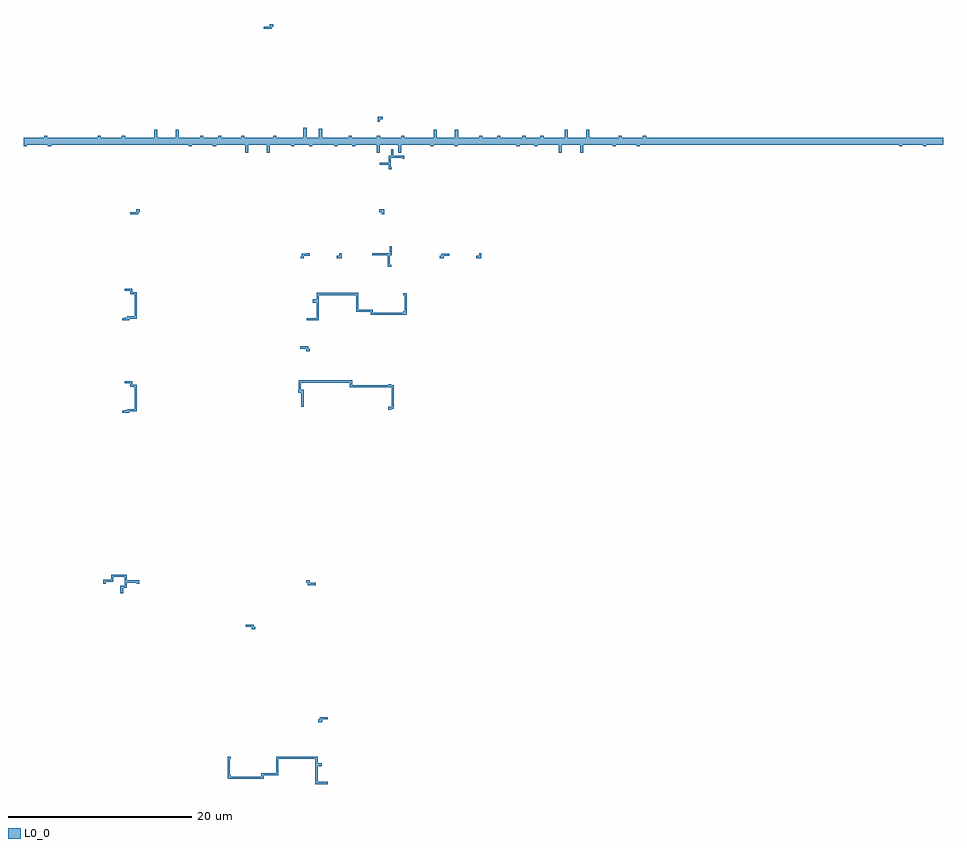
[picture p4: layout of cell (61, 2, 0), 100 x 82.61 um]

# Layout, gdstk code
import gdstk
lib = gdstk.Library(unit=1e-6, precision=1e-09)
def P(c, l, *ps):  # polygons
    for p in ps: c.add(gdstk.Polygon(p, *l))
L0_0 = (0, 0)

c__61__2__0_ = lib.new_cell('(61, 2, 0)')
P(c__61__2__0_, L0_0, [(900,971.44),(902.26,971.44),(902.26,971.615),(902.6,971.615),(902.6,971.44),(903.54,971.44),(903.54,970.64),(900,970.64),(900,971.44)],
  [(900,971.44),(1000,971.44),(1000,970.64),(900,970.64),(900,971.44)],
  [(940.71,969.8),(940.71,970.64),(938.725,970.64),(938.725,969.805),(938.385,969.805),(938.385,970.64),(936.07,970.64),(936.07,970.465),(935.73,970.465),(935.73,970.64),(934.115,970.64),(934.115,970.465),(933.775,970.465),(933.775,970.64),(932.58,970.64),(932.58,971.44),(947.76,971.44),(947.76,970.64),(947.21,970.64),(947.21,970.465),(946.87,970.465),(946.87,970.64),(944.57,970.64),(944.57,970.465),(944.23,970.465),(944.23,970.64),(941.05,970.64),(941.05,969.8),(940.71,969.8)],
  [(924.11,970.64),(920.93,970.64),(920.93,970.465),(920.59,970.465),(920.59,970.64),(918.29,970.64),(918.29,970.465),(917.95,970.465),(917.95,970.64),(917.4,970.64),(917.4,971.44),(932.58,971.44),(932.58,970.64),(931.385,970.64),(931.385,970.465),(931.045,970.465),(931.045,970.64),(929.43,970.64),(929.43,970.465),(929.09,970.465),(929.09,970.64),(926.775,970.64),(926.775,969.805),(926.435,969.805),(926.435,970.64),(924.45,970.64),(924.45,969.8),(924.11,969.8),(924.11,970.64)],
  [(951.72,971.44),(951.72,970.64),(950.4,970.64),(950.4,971.44),(951.72,971.44)],
  [(937.2,971.44),(937.86,971.44),(937.86,970.64),(937.2,970.64),(937.2,971.44)],
  [(993.96,971.44),(993.96,970.64),(988.68,970.64),(988.68,971.44),(993.96,971.44)],
  [(1000,970.64),(998.15,970.64),(998.15,970.465),(997.81,970.465),(997.81,970.64),(995.51,970.64),(995.51,970.465),(995.17,970.465),(995.17,970.64),(994.62,970.64),(994.62,971.44),(1000,971.44),(1000,970.64)],
  [(935.88,971.44),(937.2,971.44),(937.2,970.64),(935.88,970.64),(935.88,971.44)],
  [(906.18,971.44),(907.5,971.44),(907.5,970.64),(906.18,970.64),(906.18,971.44)],
  [(1000,970.64),(999.9,970.64),(999.9,971.44),(1000,971.44),(1000,970.64)],
  [(930.76,971.44),(932.11,971.44),(932.11,972.42),(932.45,972.42),(932.45,971.44),(935.34,971.44),(935.34,971.615),(935.68,971.615),(935.68,971.44),(935.88,971.44),(935.88,970.64),(922.68,970.64),(922.68,971.44),(923.65,971.44),(923.65,971.615),(923.99,971.615),(923.99,971.44),(927.15,971.44),(927.15,971.615),(927.49,971.615),(927.49,971.44),(930.42,971.44),(930.42,972.51),(930.76,972.51),(930.76,971.44)],
  [(960.51,969.8),(960.51,970.64),(958.525,970.64),(958.525,969.805),(958.185,969.805),(958.185,970.64),(955.87,970.64),(955.87,970.465),(955.53,970.465),(955.53,970.64),(953.915,970.64),(953.915,970.465),(953.575,970.465),(953.575,970.64),(952.38,970.64),(952.38,971.44),(967.56,971.44),(967.56,970.64),(967.01,970.64),(967.01,970.465),(966.67,970.465),(966.67,970.64),(964.37,970.64),(964.37,970.465),(964.03,970.465),(964.03,970.64),(960.85,970.64),(960.85,969.8),(960.51,969.8)],
  [(950.4,971.44),(950.4,970.64),(947.76,970.64),(947.76,971.44),(950.4,971.44)],
  [(916.74,971.44),(916.74,970.64),(914.1,970.64),(914.1,971.44),(916.74,971.44)],
  [(914.1,971.44),(914.1,970.64),(903.54,970.64),(903.54,971.44),(914.1,971.44)],
  [(989.34,971.44),(999.9,971.44),(999.9,970.64),(989.34,970.64),(989.34,971.44)],
  [(914.55,972.28),(914.55,971.44),(916.535,971.44),(916.535,972.275),(916.875,972.275),(916.875,971.44),(919.19,971.44),(919.19,971.615),(919.53,971.615),(919.53,971.44),(921.145,971.44),(921.145,971.615),(921.485,971.615),(921.485,971.44),(922.68,971.44),(922.68,970.64),(907.5,970.64),(907.5,971.44),(908.05,971.44),(908.05,971.615),(908.39,971.615),(908.39,971.44),(910.69,971.44),(910.69,971.615),(911.03,971.615),(911.03,971.44),(914.21,971.44),(914.21,972.28),(914.55,972.28)],
  [(903.54,971.44),(906.18,971.44),(906.18,970.64),(903.54,970.64),(903.54,971.44)],
  [(961.51,971.44),(964.69,971.44),(964.69,971.615),(965.03,971.615),(965.03,971.44),(967.33,971.44),(967.33,971.615),(967.67,971.615),(967.67,971.44),(968.22,971.44),(968.22,970.64),(953.04,970.64),(953.04,971.44),(954.235,971.44),(954.235,971.615),(954.575,971.615),(954.575,971.44),(956.19,971.44),(956.19,971.615),(956.53,971.615),(956.53,971.44),(958.845,971.44),(958.845,972.275),(959.185,972.275),(959.185,971.44),(961.17,971.44),(961.17,972.28),(961.51,972.28),(961.51,971.44)],
  [(900,971.44),(903.54,971.44),(903.54,970.64),(902.99,970.64),(902.99,970.465),(902.65,970.465),(902.65,970.64),(900.35,970.64),(900.35,970.465),(900.01,970.465),(900.01,970.64),(900,970.64),(900,971.44)],
  [(994.62,971.44),(994.62,970.64),(993.96,970.64),(993.96,971.44),(994.62,971.44)],
  [(952.38,971.44),(952.38,970.64),(951.72,970.64),(951.72,971.44),(952.38,971.44)],
  [(917.4,971.44),(917.4,970.64),(916.74,970.64),(916.74,971.44),(917.4,971.44)],
  [(988.68,971.44),(988.68,970.64),(967.56,970.64),(967.56,971.44),(988.68,971.44)],
  [(944.91,972.28),(944.91,971.44),(946.895,971.44),(946.895,972.275),(947.235,972.275),(947.235,971.44),(949.55,971.44),(949.55,971.615),(949.89,971.615),(949.89,971.44),(951.505,971.44),(951.505,971.615),(951.845,971.615),(951.845,971.44),(953.04,971.44),(953.04,970.64),(937.86,970.64),(937.86,971.44),(938.41,971.44),(938.41,971.615),(938.75,971.615),(938.75,971.44),(941.05,971.44),(941.05,971.615),(941.39,971.615),(941.39,971.44),(944.57,971.44),(944.57,972.28),(944.91,972.28)],
  [(968.22,971.44),(989.34,971.44),(989.34,970.64),(968.22,970.64),(968.22,971.44)],
  [(935.71,944.525),(939.65,944.525),(939.65,944.635),(939.99,944.635),(939.99,944.525),(940.27,944.525),(940.27,941.97),(939.99,941.97),(939.99,941.84),(939.65,941.84),(939.65,942.18),(939.705,942.18),(939.705,942.2),(940.04,942.2),(940.04,944.295),(935.48,944.295),(935.48,944.805),(930.135,944.805),(930.135,944.02),(930.435,944.02),(930.435,942.17),(930.205,942.17),(930.205,943.68),(929.86,943.68),(929.86,944.02),(929.905,944.02),(929.905,945.035),(935.71,945.035),(935.71,944.525)],
  [(903.54,971.44),(906.18,971.44),(906.18,970.64),(903.54,970.64),(903.54,971.44)],
  [(960.51,969.8),(960.51,970.64),(958.525,970.64),(958.525,969.805),(958.185,969.805),(958.185,970.64),(955.87,970.64),(955.87,970.465),(955.53,970.465),(955.53,970.64),(953.915,970.64),(953.915,970.465),(953.575,970.465),(953.575,970.64),(952.38,970.64),(952.38,971.44),(967.56,971.44),(967.56,970.64),(967.01,970.64),(967.01,970.465),(966.67,970.465),(966.67,970.64),(964.37,970.64),(964.37,970.465),(964.03,970.465),(964.03,970.64),(960.85,970.64),(960.85,969.8),(960.51,969.8)],
  [(950.4,971.44),(950.4,970.64),(947.76,970.64),(947.76,971.44),(950.4,971.44)],
  [(940.71,969.8),(940.71,970.64),(938.725,970.64),(938.725,969.805),(938.385,969.805),(938.385,970.64),(936.07,970.64),(936.07,970.465),(935.73,970.465),(935.73,970.64),(934.115,970.64),(934.115,970.465),(933.775,970.465),(933.775,970.64),(932.58,970.64),(932.58,971.44),(947.76,971.44),(947.76,970.64),(947.21,970.64),(947.21,970.465),(946.87,970.465),(946.87,970.64),(944.57,970.64),(944.57,970.465),(944.23,970.465),(944.23,970.64),(941.05,970.64),(941.05,969.8),(940.71,969.8)],
  [(924.11,970.64),(920.93,970.64),(920.93,970.465),(920.59,970.465),(920.59,970.64),(918.29,970.64),(918.29,970.465),(917.95,970.465),(917.95,970.64),(917.4,970.64),(917.4,971.44),(932.58,971.44),(932.58,970.64),(931.385,970.64),(931.385,970.465),(931.045,970.465),(931.045,970.64),(929.43,970.64),(929.43,970.465),(929.09,970.465),(929.09,970.64),(926.775,970.64),(926.775,969.805),(926.435,969.805),(926.435,970.64),(924.45,970.64),(924.45,969.8),(924.11,969.8),(924.11,970.64)],
  [(916.74,971.44),(916.74,970.64),(914.1,970.64),(914.1,971.44),(916.74,971.44)],
  [(900,971.44),(903.54,971.44),(903.54,970.64),(902.99,970.64),(902.99,970.465),(902.65,970.465),(902.65,970.64),(900.35,970.64),(900.35,970.465),(900.01,970.465),(900.01,970.64),(900,970.64),(900,971.44)],
  [(951.72,971.44),(951.72,970.64),(950.4,970.64),(950.4,971.44),(951.72,971.44)],
  [(935.88,971.44),(937.2,971.44),(937.2,970.64),(935.88,970.64),(935.88,971.44)],
  [(952.38,971.44),(952.38,970.64),(951.72,970.64),(951.72,971.44),(952.38,971.44)],
  [(906.18,971.44),(907.5,971.44),(907.5,970.64),(906.18,970.64),(906.18,971.44)],
  [(914.1,971.44),(914.1,970.64),(903.54,970.64),(903.54,971.44),(914.1,971.44)],
  [(937.2,971.44),(937.86,971.44),(937.86,970.64),(937.2,970.64),(937.2,971.44)],
  [(917.4,971.44),(917.4,970.64),(916.74,970.64),(916.74,971.44),(917.4,971.44)],
  [(930.76,971.44),(932.11,971.44),(932.11,972.42),(932.45,972.42),(932.45,971.44),(935.34,971.44),(935.34,971.615),(935.68,971.615),(935.68,971.44),(935.88,971.44),(935.88,970.64),(922.68,970.64),(922.68,971.44),(923.65,971.44),(923.65,971.615),(923.99,971.615),(923.99,971.44),(927.15,971.44),(927.15,971.615),(927.49,971.615),(927.49,971.44),(930.42,971.44),(930.42,972.51),(930.76,972.51),(930.76,971.44)],
  [(914.55,972.28),(914.55,971.44),(916.535,971.44),(916.535,972.275),(916.875,972.275),(916.875,971.44),(919.19,971.44),(919.19,971.615),(919.53,971.615),(919.53,971.44),(921.145,971.44),(921.145,971.615),(921.485,971.615),(921.485,971.44),(922.68,971.44),(922.68,970.64),(907.5,970.64),(907.5,971.44),(908.05,971.44),(908.05,971.615),(908.39,971.615),(908.39,971.44),(910.69,971.44),(910.69,971.615),(911.03,971.615),(911.03,971.44),(914.21,971.44),(914.21,972.28),(914.55,972.28)],
  [(944.91,972.28),(944.91,971.44),(946.895,971.44),(946.895,972.275),(947.235,972.275),(947.235,971.44),(949.55,971.44),(949.55,971.615),(949.89,971.615),(949.89,971.44),(951.505,971.44),(951.505,971.615),(951.845,971.615),(951.845,971.44),(953.04,971.44),(953.04,970.64),(937.86,970.64),(937.86,971.44),(938.41,971.44),(938.41,971.615),(938.75,971.615),(938.75,971.44),(941.05,971.44),(941.05,971.615),(941.39,971.615),(941.39,971.44),(944.57,971.44),(944.57,972.28),(944.91,972.28)],
  [(911.215,923.905),(911.215,923.315),(912.6,923.315),(912.6,922.94),(912.32,922.94),(912.32,923.065),(911.215,923.065),(911.215,922.51),(910.83,922.51),(910.83,921.88),(910.49,921.88),(910.49,922.74),(910.985,922.74),(910.985,923.675),(909.745,923.675),(909.745,923.145),(908.935,923.145),(908.935,922.92),(908.655,922.92),(908.655,923.375),(909.515,923.375),(909.515,923.905),(911.215,923.905)],
  [(960.51,969.8),(960.51,970.64),(958.525,970.64),(958.525,969.805),(958.185,969.805),(958.185,970.64),(955.87,970.64),(955.87,970.465),(955.53,970.465),(955.53,970.64),(953.915,970.64),(953.915,970.465),(953.575,970.465),(953.575,970.64),(952.38,970.64),(952.38,971.44),(967.56,971.44),(967.56,970.64),(967.01,970.64),(967.01,970.465),(966.67,970.465),(966.67,970.64),(964.37,970.64),(964.37,970.465),(964.03,970.465),(964.03,970.64),(960.85,970.64),(960.85,969.8),(960.51,969.8)],
  [(961.51,971.44),(964.69,971.44),(964.69,971.615),(965.03,971.615),(965.03,971.44),(967.33,971.44),(967.33,971.615),(967.67,971.615),(967.67,971.44),(968.22,971.44),(968.22,970.64),(953.04,970.64),(953.04,971.44),(954.235,971.44),(954.235,971.615),(954.575,971.615),(954.575,971.44),(956.19,971.44),(956.19,971.615),(956.53,971.615),(956.53,971.44),(958.845,971.44),(958.845,972.275),(959.185,972.275),(959.185,971.44),(961.17,971.44),(961.17,972.28),(961.51,972.28),(961.51,971.44)],
  [(950.4,971.44),(950.4,970.64),(947.76,970.64),(947.76,971.44),(950.4,971.44)],
  [(940.71,969.8),(940.71,970.64),(938.725,970.64),(938.725,969.805),(938.385,969.805),(938.385,970.64),(936.07,970.64),(936.07,970.465),(935.73,970.465),(935.73,970.64),(934.115,970.64),(934.115,970.465),(933.775,970.465),(933.775,970.64),(932.58,970.64),(932.58,971.44),(947.76,971.44),(947.76,970.64),(947.21,970.64),(947.21,970.465),(946.87,970.465),(946.87,970.64),(944.57,970.64),(944.57,970.465),(944.23,970.465),(944.23,970.64),(941.05,970.64),(941.05,969.8),(940.71,969.8)],
  [(951.72,971.44),(951.72,970.64),(950.4,970.64),(950.4,971.44),(951.72,971.44)],
  [(952.38,971.44),(952.38,970.64),(951.72,970.64),(951.72,971.44),(952.38,971.44)],
  [(935.88,971.44),(937.2,971.44),(937.2,970.64),(935.88,970.64),(935.88,971.44)],
  [(937.2,971.44),(937.86,971.44),(937.86,970.64),(937.2,970.64),(937.2,971.44)],
  [(988.68,971.44),(988.68,970.64),(967.56,970.64),(967.56,971.44),(988.68,971.44)],
  [(944.91,972.28),(944.91,971.44),(946.895,971.44),(946.895,972.275),(947.235,972.275),(947.235,971.44),(949.55,971.44),(949.55,971.615),(949.89,971.615),(949.89,971.44),(951.505,971.44),(951.505,971.615),(951.845,971.615),(951.845,971.44),(953.04,971.44),(953.04,970.64),(937.86,970.64),(937.86,971.44),(938.41,971.44),(938.41,971.615),(938.75,971.615),(938.75,971.44),(941.05,971.44),(941.05,971.615),(941.39,971.615),(941.39,971.44),(944.57,971.44),(944.57,972.28),(944.91,972.28)],
  [(960.51,969.8),(960.51,970.64),(958.525,970.64),(958.525,969.805),(958.185,969.805),(958.185,970.64),(955.87,970.64),(955.87,970.465),(955.53,970.465),(955.53,970.64),(953.915,970.64),(953.915,970.465),(953.575,970.465),(953.575,970.64),(952.38,970.64),(952.38,971.44),(967.56,971.44),(967.56,970.64),(967.01,970.64),(967.01,970.465),(966.67,970.465),(966.67,970.64),(964.37,970.64),(964.37,970.465),(964.03,970.465),(964.03,970.64),(960.85,970.64),(960.85,969.8),(960.51,969.8)],
  [(1000,970.64),(998.15,970.64),(998.15,970.465),(997.81,970.465),(997.81,970.64),(995.51,970.64),(995.51,970.465),(995.17,970.465),(995.17,970.64),(994.62,970.64),(994.62,971.44),(1000,971.44),(1000,970.64)],
  [(961.51,971.44),(964.69,971.44),(964.69,971.615),(965.03,971.615),(965.03,971.44),(967.33,971.44),(967.33,971.615),(967.67,971.615),(967.67,971.44),(968.22,971.44),(968.22,970.64),(953.04,970.64),(953.04,971.44),(954.235,971.44),(954.235,971.615),(954.575,971.615),(954.575,971.44),(956.19,971.44),(956.19,971.615),(956.53,971.615),(956.53,971.44),(958.845,971.44),(958.845,972.275),(959.185,972.275),(959.185,971.44),(961.17,971.44),(961.17,972.28),(961.51,972.28),(961.51,971.44)],
  [(940.71,969.8),(940.71,970.64),(938.725,970.64),(938.725,969.805),(938.385,969.805),(938.385,970.64),(936.07,970.64),(936.07,970.465),(935.73,970.465),(935.73,970.64),(934.115,970.64),(934.115,970.465),(933.775,970.465),(933.775,970.64),(932.58,970.64),(932.58,971.44),(947.76,971.44),(947.76,970.64),(947.21,970.64),(947.21,970.465),(946.87,970.465),(946.87,970.64),(944.57,970.64),(944.57,970.465),(944.23,970.465),(944.23,970.64),(941.05,970.64),(941.05,969.8),(940.71,969.8)],
  [(989.34,971.44),(999.9,971.44),(999.9,970.64),(989.34,970.64),(989.34,971.44)],
  [(994.62,971.44),(994.62,970.64),(993.96,970.64),(993.96,971.44),(994.62,971.44)],
  [(951.72,971.44),(951.72,970.64),(950.4,970.64),(950.4,971.44),(951.72,971.44)],
  [(952.38,971.44),(952.38,970.64),(951.72,970.64),(951.72,971.44),(952.38,971.44)],
  [(937.2,971.44),(937.86,971.44),(937.86,970.64),(937.2,970.64),(937.2,971.44)],
  [(988.68,971.44),(988.68,970.64),(967.56,970.64),(967.56,971.44),(988.68,971.44)],
  [(944.91,972.28),(944.91,971.44),(946.895,971.44),(946.895,972.275),(947.235,972.275),(947.235,971.44),(949.55,971.44),(949.55,971.615),(949.89,971.615),(949.89,971.44),(951.505,971.44),(951.505,971.615),(951.845,971.615),(951.845,971.44),(953.04,971.44),(953.04,970.64),(937.86,970.64),(937.86,971.44),(938.41,971.44),(938.41,971.615),(938.75,971.615),(938.75,971.44),(941.05,971.44),(941.05,971.615),(941.39,971.615),(941.39,971.44),(944.57,971.44),(944.57,972.28),(944.91,972.28)],
  [(968.22,971.44),(989.34,971.44),(989.34,970.64),(968.22,970.64),(968.22,971.44)],
  [(960.51,969.8),(960.51,970.64),(958.525,970.64),(958.525,969.805),(958.185,969.805),(958.185,970.64),(955.87,970.64),(955.87,970.465),(955.53,970.465),(955.53,970.64),(953.915,970.64),(953.915,970.465),(953.575,970.465),(953.575,970.64),(952.38,970.64),(952.38,971.44),(967.56,971.44),(967.56,970.64),(967.01,970.64),(967.01,970.465),(966.67,970.465),(966.67,970.64),(964.37,970.64),(964.37,970.465),(964.03,970.465),(964.03,970.64),(960.85,970.64),(960.85,969.8),(960.51,969.8)],
  [(961.51,971.44),(964.69,971.44),(964.69,971.615),(965.03,971.615),(965.03,971.44),(967.33,971.44),(967.33,971.615),(967.67,971.615),(967.67,971.44),(968.22,971.44),(968.22,970.64),(953.04,970.64),(953.04,971.44),(954.235,971.44),(954.235,971.615),(954.575,971.615),(954.575,971.44),(956.19,971.44),(956.19,971.615),(956.53,971.615),(956.53,971.44),(958.845,971.44),(958.845,972.275),(959.185,972.275),(959.185,971.44),(961.17,971.44),(961.17,972.28),(961.51,972.28),(961.51,971.44)],
  [(940.71,969.8),(940.71,970.64),(938.725,970.64),(938.725,969.805),(938.385,969.805),(938.385,970.64),(936.07,970.64),(936.07,970.465),(935.73,970.465),(935.73,970.64),(934.115,970.64),(934.115,970.465),(933.775,970.465),(933.775,970.64),(932.58,970.64),(932.58,971.44),(947.76,971.44),(947.76,970.64),(947.21,970.64),(947.21,970.465),(946.87,970.465),(946.87,970.64),(944.57,970.64),(944.57,970.465),(944.23,970.465),(944.23,970.64),(941.05,970.64),(941.05,969.8),(940.71,969.8)],
  [(951.72,971.44),(951.72,970.64),(950.4,970.64),(950.4,971.44),(951.72,971.44)],
  [(952.38,971.44),(952.38,970.64),(951.72,970.64),(951.72,971.44),(952.38,971.44)],
  [(935.88,971.44),(937.2,971.44),(937.2,970.64),(935.88,970.64),(935.88,971.44)],
  [(937.2,971.44),(937.86,971.44),(937.86,970.64),(937.2,970.64),(937.2,971.44)],
  [(944.91,972.28),(944.91,971.44),(946.895,971.44),(946.895,972.275),(947.235,972.275),(947.235,971.44),(949.55,971.44),(949.55,971.615),(949.89,971.615),(949.89,971.44),(951.505,971.44),(951.505,971.615),(951.845,971.615),(951.845,971.44),(953.04,971.44),(953.04,970.64),(937.86,970.64),(937.86,971.44),(938.41,971.44),(938.41,971.615),(938.75,971.615),(938.75,971.44),(941.05,971.44),(941.05,971.615),(941.39,971.615),(941.39,971.44),(944.57,971.44),(944.57,972.28),(944.91,972.28)],
  [(960.51,969.8),(960.51,970.64),(958.525,970.64),(958.525,969.805),(958.185,969.805),(958.185,970.64),(955.87,970.64),(955.87,970.465),(955.53,970.465),(955.53,970.64),(953.915,970.64),(953.915,970.465),(953.575,970.465),(953.575,970.64),(952.38,970.64),(952.38,971.44),(967.56,971.44),(967.56,970.64),(967.01,970.64),(967.01,970.465),(966.67,970.465),(966.67,970.64),(964.37,970.64),(964.37,970.465),(964.03,970.465),(964.03,970.64),(960.85,970.64),(960.85,969.8),(960.51,969.8)],
  [(940.71,969.8),(940.71,970.64),(938.725,970.64),(938.725,969.805),(938.385,969.805),(938.385,970.64),(936.07,970.64),(936.07,970.465),(935.73,970.465),(935.73,970.64),(934.115,970.64),(934.115,970.465),(933.775,970.465),(933.775,970.64),(932.58,970.64),(932.58,971.44),(947.76,971.44),(947.76,970.64),(947.21,970.64),(947.21,970.465),(946.87,970.465),(946.87,970.64),(944.57,970.64),(944.57,970.465),(944.23,970.465),(944.23,970.64),(941.05,970.64),(941.05,969.8),(940.71,969.8)],
  [(935.88,971.44),(937.2,971.44),(937.2,970.64),(935.88,970.64),(935.88,971.44)],
  [(952.38,971.44),(952.38,970.64),(951.72,970.64),(951.72,971.44),(952.38,971.44)],
  [(937.2,971.44),(937.86,971.44),(937.86,970.64),(937.2,970.64),(937.2,971.44)],
  [(944.91,972.28),(944.91,971.44),(946.895,971.44),(946.895,972.275),(947.235,972.275),(947.235,971.44),(949.55,971.44),(949.55,971.615),(949.89,971.615),(949.89,971.44),(951.505,971.44),(951.505,971.615),(951.845,971.615),(951.845,971.44),(953.04,971.44),(953.04,970.64),(937.86,970.64),(937.86,971.44),(938.41,971.44),(938.41,971.615),(938.75,971.615),(938.75,971.44),(941.05,971.44),(941.05,971.615),(941.39,971.615),(941.39,971.44),(944.57,971.44),(944.57,972.28),(944.91,972.28)],
  [(961.51,971.44),(964.69,971.44),(964.69,971.615),(965.03,971.615),(965.03,971.44),(967.33,971.44),(967.33,971.615),(967.67,971.615),(967.67,971.44),(968.22,971.44),(968.22,970.64),(953.04,970.64),(953.04,971.44),(954.235,971.44),(954.235,971.615),(954.575,971.615),(954.575,971.44),(956.19,971.44),(956.19,971.615),(956.53,971.615),(956.53,971.44),(958.845,971.44),(958.845,972.275),(959.185,972.275),(959.185,971.44),(961.17,971.44),(961.17,972.28),(961.51,972.28),(961.51,971.44)],
  [(940.71,969.8),(940.71,970.64),(938.725,970.64),(938.725,969.805),(938.385,969.805),(938.385,970.64),(936.07,970.64),(936.07,970.465),(935.73,970.465),(935.73,970.64),(934.115,970.64),(934.115,970.465),(933.775,970.465),(933.775,970.64),(932.58,970.64),(932.58,971.44),(947.76,971.44),(947.76,970.64),(947.21,970.64),(947.21,970.465),(946.87,970.465),(946.87,970.64),(944.57,970.64),(944.57,970.465),(944.23,970.465),(944.23,970.64),(941.05,970.64),(941.05,969.8),(940.71,969.8)],
  [(952.38,971.44),(952.38,970.64),(951.72,970.64),(951.72,971.44),(952.38,971.44)],
  [(937.2,971.44),(937.86,971.44),(937.86,970.64),(937.2,970.64),(937.2,971.44)],
  [(944.91,972.28),(944.91,971.44),(946.895,971.44),(946.895,972.275),(947.235,972.275),(947.235,971.44),(949.55,971.44),(949.55,971.615),(949.89,971.615),(949.89,971.44),(951.505,971.44),(951.505,971.615),(951.845,971.615),(951.845,971.44),(953.04,971.44),(953.04,970.64),(937.86,970.64),(937.86,971.44),(938.41,971.44),(938.41,971.615),(938.75,971.615),(938.75,971.44),(941.05,971.44),(941.05,971.615),(941.39,971.615),(941.39,971.44),(944.57,971.44),(944.57,972.28),(944.91,972.28)],
  [(960.51,969.8),(960.51,970.64),(958.525,970.64),(958.525,969.805),(958.185,969.805),(958.185,970.64),(955.87,970.64),(955.87,970.465),(955.53,970.465),(955.53,970.64),(953.915,970.64),(953.915,970.465),(953.575,970.465),(953.575,970.64),(952.38,970.64),(952.38,971.44),(967.56,971.44),(967.56,970.64),(967.01,970.64),(967.01,970.465),(966.67,970.465),(966.67,970.64),(964.37,970.64),(964.37,970.465),(964.03,970.465),(964.03,970.64),(960.85,970.64),(960.85,969.8),(960.51,969.8)],
  [(961.51,971.44),(964.69,971.44),(964.69,971.615),(965.03,971.615),(965.03,971.44),(967.33,971.44),(967.33,971.615),(967.67,971.615),(967.67,971.44),(968.22,971.44),(968.22,970.64),(953.04,970.64),(953.04,971.44),(954.235,971.44),(954.235,971.615),(954.575,971.615),(954.575,971.44),(956.19,971.44),(956.19,971.615),(956.53,971.615),(956.53,971.44),(958.845,971.44),(958.845,972.275),(959.185,972.275),(959.185,971.44),(961.17,971.44),(961.17,972.28),(961.51,972.28),(961.51,971.44)],
  [(940.71,969.8),(940.71,970.64),(938.725,970.64),(938.725,969.805),(938.385,969.805),(938.385,970.64),(936.07,970.64),(936.07,970.465),(935.73,970.465),(935.73,970.64),(934.115,970.64),(934.115,970.465),(933.775,970.465),(933.775,970.64),(932.58,970.64),(932.58,971.44),(947.76,971.44),(947.76,970.64),(947.21,970.64),(947.21,970.465),(946.87,970.465),(946.87,970.64),(944.57,970.64),(944.57,970.465),(944.23,970.465),(944.23,970.64),(941.05,970.64),(941.05,969.8),(940.71,969.8)],
  [(937.2,971.44),(937.86,971.44),(937.86,970.64),(937.2,970.64),(937.2,971.44)],
  [(944.91,972.28),(944.91,971.44),(946.895,971.44),(946.895,972.275),(947.235,972.275),(947.235,971.44),(949.55,971.44),(949.55,971.615),(949.89,971.615),(949.89,971.44),(951.505,971.44),(951.505,971.615),(951.845,971.615),(951.845,971.44),(953.04,971.44),(953.04,970.64),(937.86,970.64),(937.86,971.44),(938.41,971.44),(938.41,971.615),(938.75,971.615),(938.75,971.44),(941.05,971.44),(941.05,971.615),(941.39,971.615),(941.39,971.44),(944.57,971.44),(944.57,972.28),(944.91,972.28)],
  [(930.74,923.3),(931.12,923.3),(931.12,923.02),(930.74,923.02),(930.74,923.3)],
  [(931.135,923.015),(931.77,923.015),(931.77,922.785),(930.905,922.785),(930.905,923.045),(930.815,923.045),(930.815,923.275),(931.135,923.275),(931.135,923.015)],
  [(961.51,971.44),(964.69,971.44),(964.69,971.615),(965.03,971.615),(965.03,971.44),(967.33,971.44),(967.33,971.615),(967.67,971.615),(967.67,971.44),(968.22,971.44),(968.22,970.64),(953.04,970.64),(953.04,971.44),(954.235,971.44),(954.235,971.615),(954.575,971.615),(954.575,971.44),(956.19,971.44),(956.19,971.615),(956.53,971.615),(956.53,971.44),(958.845,971.44),(958.845,972.275),(959.185,972.275),(959.185,971.44),(961.17,971.44),(961.17,972.28),(961.51,972.28),(961.51,971.44)],
  [(940.71,969.8),(940.71,970.64),(938.725,970.64),(938.725,969.805),(938.385,969.805),(938.385,970.64),(936.07,970.64),(936.07,970.465),(935.73,970.465),(935.73,970.64),(934.115,970.64),(934.115,970.465),(933.775,970.465),(933.775,970.64),(932.58,970.64),(932.58,971.44),(947.76,971.44),(947.76,970.64),(947.21,970.64),(947.21,970.465),(946.87,970.465),(946.87,970.64),(944.57,970.64),(944.57,970.465),(944.23,970.465),(944.23,970.64),(941.05,970.64),(941.05,969.8),(940.71,969.8)],
  [(960.51,969.8),(960.51,970.64),(958.525,970.64),(958.525,969.805),(958.185,969.805),(958.185,970.64),(955.87,970.64),(955.87,970.465),(955.53,970.465),(955.53,970.64),(953.915,970.64),(953.915,970.465),(953.575,970.465),(953.575,970.64),(952.38,970.64),(952.38,971.44),(967.56,971.44),(967.56,970.64),(967.01,970.64),(967.01,970.465),(966.67,970.465),(966.67,970.64),(964.37,970.64),(964.37,970.465),(964.03,970.465),(964.03,970.64),(960.85,970.64),(960.85,969.8),(960.51,969.8)],
  [(939.185,963.08),(938.955,963.08),(938.955,963.34),(938.665,963.34),(938.665,963.62),(939.185,963.62),(939.185,963.08)],
  [(938.66,963.62),(939.04,963.62),(939.04,963.34),(938.66,963.34),(938.66,963.62)],
  [(936.39,952.735),(937.975,952.735),(937.975,952.38),(941.3,952.38),(941.3,952.54),(941.415,952.54),(941.415,954.305),(941.3,954.305),(941.3,954.535),(941.645,954.535),(941.645,952.255),(941.64,952.255),(941.64,952.2),(941.585,952.2),(941.585,952.15),(937.745,952.15),(937.745,952.505),(936.16,952.505),(936.16,954.32),(932.105,954.32),(932.105,951.565),(930.79,951.565),(930.79,951.795),(931.875,951.795),(931.875,953.49),(931.45,953.49),(931.45,953.84),(931.875,953.84),(931.875,954.55),(936.39,954.55),(936.39,952.735)],
  [(945.26,958.58),(945.64,958.58),(945.64,958.3),(945.26,958.3),(945.26,958.58)],
  [(945.335,958.325),(945.335,958.555),(945.425,958.555),(945.425,958.815),(946.29,958.815),(946.29,958.585),(945.655,958.585),(945.655,958.325),(945.335,958.325)],
  [(949.22,958.58),(949.6,958.58),(949.6,958.3),(949.22,958.3),(949.22,958.58)],
  [(949.225,958.3),(949.225,958.58),(949.515,958.58),(949.515,958.84),(949.745,958.84),(949.745,958.3),(949.225,958.3)],
  [(939.565,957.385),(939.565,958.635),(937.915,958.635),(937.915,958.865),(939.8,958.865),(939.8,959.63),(940.03,959.63),(940.03,958.635),(939.795,958.635),(939.795,957.615),(939.945,957.615),(939.945,957.385),(939.565,957.385)],
  [(940.71,969.8),(940.71,970.64),(938.725,970.64),(938.725,969.805),(938.385,969.805),(938.385,970.64),(936.07,970.64),(936.07,970.465),(935.73,970.465),(935.73,970.64),(934.115,970.64),(934.115,970.465),(933.775,970.465),(933.775,970.64),(932.58,970.64),(932.58,971.44),(947.76,971.44),(947.76,970.64),(947.21,970.64),(947.21,970.465),(946.87,970.465),(946.87,970.64),(944.57,970.64),(944.57,970.465),(944.23,970.465),(944.23,970.64),(941.05,970.64),(941.05,969.8),(940.71,969.8)],
  [(944.91,972.28),(944.91,971.44),(946.895,971.44),(946.895,972.275),(947.235,972.275),(947.235,971.44),(949.55,971.44),(949.55,971.615),(949.89,971.615),(949.89,971.44),(951.505,971.44),(951.505,971.615),(951.845,971.615),(951.845,971.44),(953.04,971.44),(953.04,970.64),(937.86,970.64),(937.86,971.44),(938.41,971.44),(938.41,971.615),(938.75,971.615),(938.75,971.44),(941.05,971.44),(941.05,971.615),(941.39,971.615),(941.39,971.44),(944.57,971.44),(944.57,972.28),(944.91,972.28)],
  [(939.695,967.985),(939.695,968.475),(938.745,968.475),(938.745,968.705),(939.71,968.705),(939.71,969.485),(939.965,969.485),(939.965,970.14),(940.195,970.14),(940.195,969.485),(941.4,969.485),(941.4,969.12),(941.17,969.12),(941.17,969.255),(939.94,969.255),(939.94,968.215),(940.045,968.215),(940.045,967.985),(939.695,967.985)],
  [(932.06,908.18),(932.44,908.18),(932.44,907.9),(932.06,907.9),(932.06,908.18)],
  [(932.135,907.925),(932.135,908.155),(932.225,908.155),(932.225,908.415),(933.09,908.415),(933.09,908.185),(932.455,908.185),(932.455,907.925),(932.135,907.925)],
  [(930.74,958.87),(931.12,958.87),(931.12,958.59),(930.74,958.59),(930.74,958.87)],
  [(930.155,958.325),(930.155,958.555),(930.245,958.555),(930.245,958.815),(931.11,958.815),(931.11,958.585),(930.475,958.585),(930.475,958.325),(930.155,958.325)],
  [(934.04,958.58),(934.42,958.58),(934.42,958.3),(934.04,958.3),(934.04,958.58)],
  [(934.045,958.3),(934.045,958.58),(934.335,958.58),(934.335,958.84),(934.565,958.84),(934.565,958.3),(934.045,958.3)],
  [(930.725,948.505),(930.09,948.505),(930.09,948.735),(930.955,948.735),(930.955,948.475),(931.045,948.475),(931.045,948.245),(930.725,948.245),(930.725,948.505)],
  [(930.74,948.5),(931.12,948.5),(931.12,948.22),(930.74,948.22),(930.74,948.5)],
  [(924.785,918.265),(924.15,918.265),(924.15,918.495),(925.015,918.495),(925.015,918.235),(925.105,918.235),(925.105,918.005),(924.785,918.005),(924.785,918.265)],
  [(924.8,918.26),(925.18,918.26),(925.18,917.98),(924.8,917.98),(924.8,918.26)],
  [(931.965,904.15),(931.965,903.44),(932.39,903.44),(932.39,903.09),(931.965,903.09),(931.965,901.395),(933.05,901.395),(933.05,901.165),(931.735,901.165),(931.735,903.92),(927.68,903.92),(927.68,902.105),(926.095,902.105),(926.095,901.75),(922.255,901.75),(922.255,901.8),(922.2,901.8),(922.2,901.855),(922.195,901.855),(922.195,904.135),(922.54,904.135),(922.54,903.905),(922.425,903.905),(922.425,902.14),(922.54,902.14),(922.54,901.98),(925.865,901.98),(925.865,902.335),(927.45,902.335),(927.45,904.15),(931.965,904.15)],
  [(911.825,944.945),(911.825,944.555),(912.315,944.555),(912.315,941.685),(911.505,941.685),(911.505,941.495),(910.755,941.495),(910.755,941.725),(911.245,941.725),(911.245,941.755),(911.275,941.755),(911.275,941.915),(912.085,941.915),(912.085,944.3),(911.98,944.3),(911.98,944.325),(911.595,944.325),(911.595,944.715),(911.025,944.715),(911.025,944.945),(911.825,944.945)],
  [(910.94,941.78),(911.32,941.78),(911.32,941.5),(910.94,941.5),(910.94,941.78)],
  [(912.26,963.62),(912.64,963.62),(912.64,963.34),(912.26,963.34),(912.26,963.62)],
  [(912.565,963.595),(912.565,963.365),(912.475,963.365),(912.475,963.105),(911.61,963.105),(911.61,963.335),(912.245,963.335),(912.245,963.595),(912.565,963.595)],
  [(926.78,983.78),(927.16,983.78),(927.16,983.5),(926.78,983.5),(926.78,983.78)],
  [(927.085,983.755),(927.085,983.525),(926.995,983.525),(926.995,983.265),(926.13,983.265),(926.13,983.495),(926.765,983.495),(926.765,983.755),(927.085,983.755)],
  [(939.035,973.7),(939.035,973.42),(938.745,973.42),(938.745,973.16),(938.515,973.16),(938.515,973.7),(939.035,973.7)],
  [(938.66,973.7),(939.04,973.7),(939.04,973.42),(938.66,973.42),(938.66,973.7)],
  [(911.825,955.025),(911.825,954.635),(912.315,954.635),(912.315,951.765),(911.505,951.765),(911.505,951.575),(910.755,951.575),(910.755,951.805),(911.245,951.805),(911.245,951.835),(911.275,951.835),(911.275,951.995),(912.085,951.995),(912.085,954.38),(911.98,954.38),(911.98,954.405),(911.595,954.405),(911.595,954.795),(911.025,954.795),(911.025,955.025),(911.825,955.025)],
  [(910.94,951.86),(911.32,951.86),(911.32,951.58),(910.94,951.58),(910.94,951.86)])

lib.write_gds('_61__2__0_.gds')
